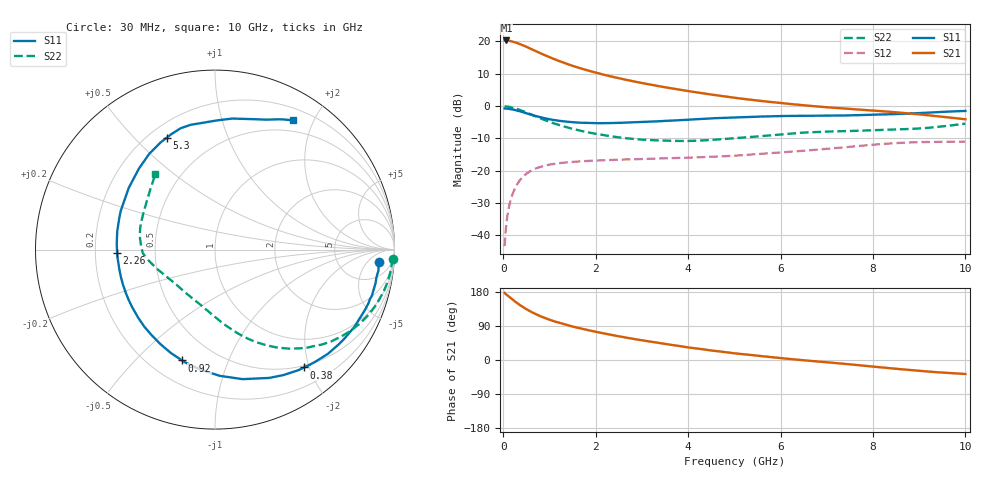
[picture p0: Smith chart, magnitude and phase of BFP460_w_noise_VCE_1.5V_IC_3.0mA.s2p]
! (c) 2016  Infineon Technologies AG, Munich
! Infineon Technologies  Discrete & RF Semiconductors
! BFP460
! VCE =  1.5 V,  IC =  3.0 mA
! Common Emitter S-Parameters:  Jan 2016
# GHz  S  MA  R  50
!  f  S11  S21  S12  S22
! GHz  MAG  ANG  MAG  ANG  MAG  ANG  MAG  ANG
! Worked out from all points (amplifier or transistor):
!   229 points, 30 MHz to 10 GHz, reference 50 ohm
!   highest |S21| = 20.3 dB at 70 MHz (marker M1)
!   |S21| within 3 dB of that: start of sweep to 659.6 MHz
!   unconditionally stable (mu >= 1): 3.541 GHz to 8.817 GHz
!   at 280 MHz: K = 0.11, MSG = 22.2 dB, |S12| = -24.7 dB
!   at 1.78 GHz: K = 0.61, MSG = 14.1 dB, |S12| = -17.0 dB
!   at 10 GHz: K = 0.97, MSG = 3.5 dB, |S12| = -11.0 dB
!   lowest NFmin = 0.71 dB at 450 MHz
!   S11 on the Smith chart (normalised r, x): 30 MHz: 13, -12; 380 MHz: 0.47, -1.92; 920 MHz: 0.33, -0.69; 2.26 GHz: 0.29, -0.02; 5.3 GHz: 0.27, +0.62; 10 GHz: 0.35, +1.72
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0.03  0.9187 -4.4  10.36 177.3  0.0068 87.3  0.9903 -2.9
0.07  0.9128 -10.5  10.37 172.3  0.0156 83.9  0.986 -6.7
0.14  0.903 -20.6  10.21 165.5  0.0309 78.1  0.9704 -13.3
0.24  0.8745 -34.8  9.789 155.8  0.0508 70.1  0.933 -22.2
0.3  0.8558 -42.8  9.483 150.3  0.0615 65.8  0.9046 -27.3
0.38  0.8231 -52.9  9.013 143.5  0.074 60.2  0.8619 -33.4
0.45  0.7959 -61.5  8.594 137.8  0.0837 56.0  0.8245 -38.4
0.6  0.7379 -78.0  7.691 127.3  0.0999 48.2  0.7439 -47.5
0.78  0.679 -94.9  6.699 116.8  0.1133 41.0  0.6571 -56.4
0.92  0.6441 -106.6  6.055 110.0  0.1207 36.7  0.6001 -62.2
1.1  0.6086 -119.8  5.347 102.2  0.1277 32.2  0.54 -68.6
1.28  0.584 -131.4  4.771 95.6  0.1327 28.8  0.492 -73.8
1.7  0.5525 -154.1  3.789 82.5  0.1401 23.5  0.4116 -84.1
2.26  0.5455 -177.9  2.96 68.2  0.1463 19.3  0.3476 -95.8
2.8  0.5597 163.6  2.43 56.0  0.1504 16.9  0.311 -107.8
3.4  0.5837 147.0  2.016 44.4  0.1546 15.6  0.2935 -121.0
4  0.6189 133.3  1.71 33.2  0.1593 15.0  0.2889 -134.6
5.1  0.6724 115.7  1.319 16.5  0.1725 15.5  0.3225 -156.0
5.3  0.6792 113.3  1.267 14.0  0.1765 15.6  0.3305 -158.8
6.8  0.7084 97.8  0.987 -3.8  0.212 13.7  0.3973 -176.0
8.4  0.7487 76.5  0.813 -22.1  0.2649 5.4  0.4337 164.1
10  0.8416 58.8  0.625 -36.9  0.2819 -5.9  0.5347 128.5
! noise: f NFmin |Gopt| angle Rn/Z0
0.45  0.71  0.48  19  0.2
0.9  0.75  0.46  37  0.21
1.9  1.09  0.27  93  0.15
3.5  1.43  0.36  -162  0.1
